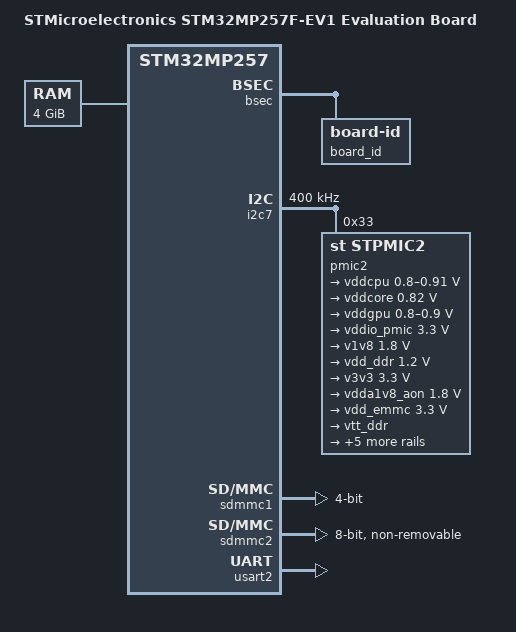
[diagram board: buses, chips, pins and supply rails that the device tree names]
// SPDX-License-Identifier: (GPL-2.0-or-later OR BSD-3-Clause)
/*
 * Copyright (C) 2023-2024, STMicroelectronics - All Rights Reserved
 * Author: Alexandre Torgue <alexandre.torgue@foss.st.com> for STMicroelectronics.
 */

/dts-v1/;

#include <dt-bindings/clock/stm32mp25-clksrc.h>
#include "stm32mp257.dtsi"
#include "stm32mp25xf.dtsi"
#include "stm32mp257f-ev1-ca35tdcid-rcc.dtsi"
#include "stm32mp25-ddr4-2x16Gbits-2x16bits-1200MHz.dtsi"
#include "stm32mp25-pinctrl.dtsi"
#include "stm32mp25xxai-pinctrl.dtsi"

/ {
	model = "STMicroelectronics STM32MP257F-EV1 Evaluation Board";
	compatible = "st,stm32mp257f-ev1", "st,stm32mp257";

	aliases {
		serial0 = &usart2;
	};

	chosen {
		stdout-path = "serial0:115200n8";
	};

	memory@80000000 {
		device_type = "memory";
		reg = <0x0 0x80000000 0x1 0x0>;
	};
};

&bsec {
	board_id: board-id@3d8 {
		reg = <0x3d8 0x4>;
	};
};

&ddr {
	vdd-supply = <&vdd_ddr>;
	vtt-supply = <&vtt_ddr>;
	vpp-supply = <&vpp_ddr>;
	vref-supply = <&vref_ddr>;
};

&i2c7 {
	pinctrl-names = "default";
	pinctrl-0 = <&i2c7_pins_a>;
	i2c-scl-rising-time-ns = <185>;
	i2c-scl-falling-time-ns = <20>;
	clock-frequency = <400000>;
	status = "okay";
	#address-cells = <1>;
	#size-cells = <0>;

	pmic2: stpmic@33 {
		compatible = "st,stpmic2";
		reg = <0x33>;
		status = "okay";

		regulators {
			compatible = "st,stpmic2-regulators";

			vddcpu: buck1 {
				regulator-name = "vddcpu";
				regulator-min-microvolt = <800000>;
				regulator-max-microvolt = <910000>;
				regulator-always-on;
			};
			vddcore: buck2 {
				regulator-name = "vddcore";
				regulator-min-microvolt = <820000>;
				regulator-max-microvolt = <820000>;
				regulator-always-on;
			};
			vddgpu: buck3 {
				regulator-name = "vddgpu";
				regulator-min-microvolt = <800000>;
				regulator-max-microvolt = <900000>;
				regulator-always-on;
			};
			vddio_pmic: buck4 {
				regulator-name = "vddio_pmic";
				regulator-min-microvolt = <3300000>;
				regulator-max-microvolt = <3300000>;
				regulator-always-on;
			};
			v1v8: buck5 {
				regulator-name = "v1v8";
				regulator-min-microvolt = <1800000>;
				regulator-max-microvolt = <1800000>;
				regulator-always-on;
			};
			vdd_ddr: buck6 {
				regulator-name = "vdd_ddr";
				regulator-min-microvolt = <1200000>;
				regulator-max-microvolt = <1200000>;
			};
			v3v3: buck7 {
				regulator-name = "v3v3";
				regulator-min-microvolt = <3300000>;
				regulator-max-microvolt = <3300000>;
				regulator-always-on;
			};
			vdda1v8_aon: ldo1 {
				regulator-name = "vdda1v8_aon";
				regulator-min-microvolt = <1800000>;
				regulator-max-microvolt = <1800000>;
				regulator-always-on;
			};
			vdd_emmc: ldo2 {
				regulator-name = "vdd_emmc";
				regulator-min-microvolt = <3300000>;
				regulator-max-microvolt = <3300000>;
				regulator-always-on;
			};
			vtt_ddr: ldo3 {
				regulator-name = "vtt_ddr";
				st,regulator-sink-source;
			};
			vdd3v3_usb: ldo4 {
				regulator-name = "vdd3v3_usb";
				regulator-min-microvolt = <3300000>;
				regulator-max-microvolt = <3300000>;
				regulator-always-on;
			};
			vpp_ddr: ldo5 {
				regulator-name = "vpp_ddr";
				regulator-min-microvolt = <2500000>;
				regulator-max-microvolt = <2500000>;
				regulator-enable-ramp-delay = <1000>;
			};
			vdd_sdcard: ldo7 {
				regulator-name = "vdd_sdcard";
				regulator-min-microvolt = <3300000>;
				regulator-max-microvolt = <3300000>;
				regulator-always-on;
			};
			vddio_sdcard: ldo8 {
				regulator-name = "vddio_sdcard";
				st,regulator-bypass-microvolt = <3300000>;
				regulator-min-microvolt = <1800000>;
				regulator-max-microvolt = <3300000>;
				regulator-always-on;
			};
			vref_ddr: refddr {
				regulator-name = "vref_ddr";
			};
		};
	};
};

&pwr {
	vddio1: vddio1 {
		vddio1-supply = <&vddio_sdcard>;
	};
	vddio2: vddio2 {
		vddio2-supply = <&v1v8>;
	};
	vddio3: vddio3 {
		vddio3-supply = <&vddio_pmic>;
	};
	vddio4: vddio4 {
		vddio4-supply = <&vddio_pmic>;
	};
	vddio: vddio {
		vdd-supply = <&vddio_pmic>;
	};
};

&sdmmc1 {
	pinctrl-names = "default";
	pinctrl-0 = <&sdmmc1_b4_pins_a>;
	st,neg-edge;
	bus-width = <4>;
	status = "okay";
};

&sdmmc2 {
	pinctrl-names = "default";
	pinctrl-0 = <&sdmmc2_b4_pins_a &sdmmc2_d47_pins_a>;
	non-removable;
	no-sd;
	no-sdio;
	st,neg-edge;
	bus-width = <8>;
	status = "okay";
};

&usart2 {
	pinctrl-names = "default";
	pinctrl-0 = <&usart2_pins_a>;
	status = "okay";
};
